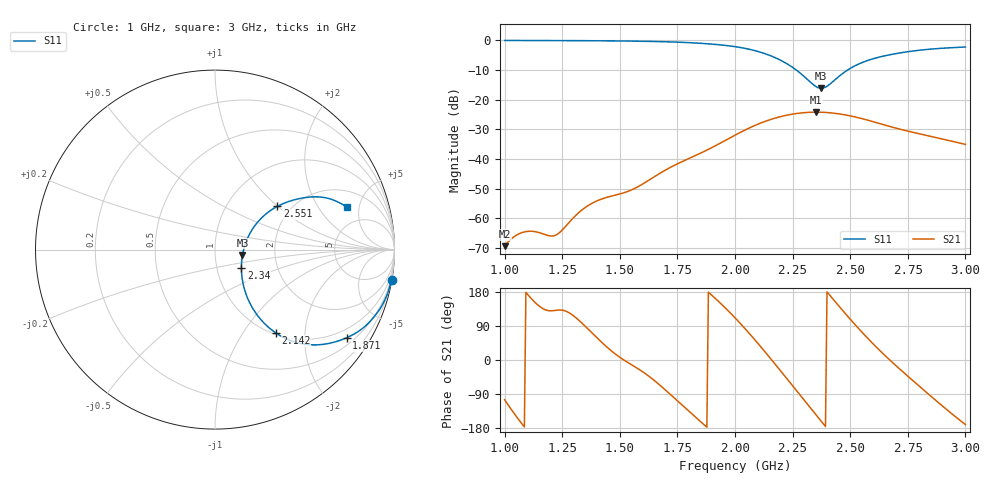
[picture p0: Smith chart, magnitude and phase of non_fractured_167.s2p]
! TOUCHSTONE file generated by CST MICROWAVE STUDIO
! Date and time: Sat Mar  8 13:55:10 2025
! Project name: non_fractured.cst
! Parameters = {B=2.5; D=160; F=5; Feed=2.85625; L=100; M=20; R=0.384908; S=1.5; Theta=180; length=57.125; wave=114.25}
! Header version: 2024
! Port assignment regex: !\s*Touchstone port\s*([0-9]+)\s*=\s*(CST MWS port|CST DES external port|CST DES block port)\s*(.+)\s* \(\"(.*)\"\)(\s*mode\s*([0-9]+))?.*
! Touchstone port assignment:
! Touchstone port 1 = CST MWS port 1 ("")
! Touchstone port 2 = CST MWS port 2 ("")
# GHz S DB R 50
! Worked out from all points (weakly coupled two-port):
!   304 points, 1 GHz to 3 GHz, reference 50 ohm
!   highest |S21| = -24.19 dB at 2.353 GHz (marker M1); lowest = -69.4 dB at 1 GHz (marker M2)
!   lowest |S11| = -16.1 dB at 2.373 GHz (marker M3), VSWR 1.37, Z = 67.9 - j4.22 ohm
!   |S11| at or under -10 dB: 2.266 GHz to 2.489 GHz (222.2 MHz wide, 9.35 % of centre)
!   S12 and S22 are empty: the file has one direction only
!   S11 on the Smith chart (normalised r, x): 1 GHz: 0, -12; 1.871 GHz: 0.71, -3.14; 2.142 GHz: 1.03, -1.42; 2.34 GHz: 1.31, -0.28; 2.551 GHz: 1.70, +1.00; 3 GHz: 3.22, +3.78
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1  -0.02 -9.7  -69.38 -104.7  -200.00 0.0  -200.00 0.0
1.0396  -0.02 -10.3  -66.26 -139.5  -200.00 0.0  -200.00 0.0
1.08581  -0.03 -10.9  -64.57 -176.6  -200.00 0.0  -200.00 0.0
1.19802  -0.05 -12.6  -65.94 129.8  -200.00 0.0  -200.00 0.0
1.22442  -0.05 -13.1  -65.57 131.2  -200.00 0.0  -200.00 0.0
1.33663  -0.09 -15.2  -57.11 96.8  -200.00 0.0  -200.00 0.0
1.40924  -0.12 -16.8  -53.83 53.6  -200.00 0.0  -200.00 0.0
1.55446  -0.24 -20.6  -50.29 -13.8  -200.00 0.0  -200.00 0.0
1.66667  -0.40 -24.2  -45.16 -62.6  -200.00 0.0  -200.00 0.0
1.87129  -1.09 -33.8  -37.26 -173.8  -200.00 0.0  -200.00 0.0
2.0033  -2.14 -42.7  -31.82 109.4  -200.00 0.0  -200.00 0.0
2.14191  -4.80 -53.9  -26.99 13.0  -200.00 0.0  -200.00 0.0
2.24092  -8.61 -57.1  -24.97 -61.1  -200.00 0.0  -200.00 0.0
2.33993  -14.92 -35.0  -24.20 -135.9  -200.00 0.0  -200.00 0.0
2.35314  -15.64 -26.5  -24.19 -145.8  -200.00 0.0  -200.00 0.0
2.37294  -16.14 -11.2  -24.22 -160.6  -200.00 0.0  -200.00 0.0
2.39934  -15.46 8.7  -24.32 179.8  -200.00 0.0  -200.00 0.0
2.46535  -11.27 32.1  -24.94 132.0  -200.00 0.0  -200.00 0.0
2.55116  -7.48 34.7  -26.37 73.3  -200.00 0.0  -200.00 0.0
2.66997  -4.87 30.3  -28.97 1.0  -200.00 0.0  -200.00 0.0
2.83498  -3.03 23.4  -32.08 -87.5  -200.00 0.0  -200.00 0.0
3  -2.23 17.7  -35.06 -170.3  -200.00 0.0  -200.00 0.0
